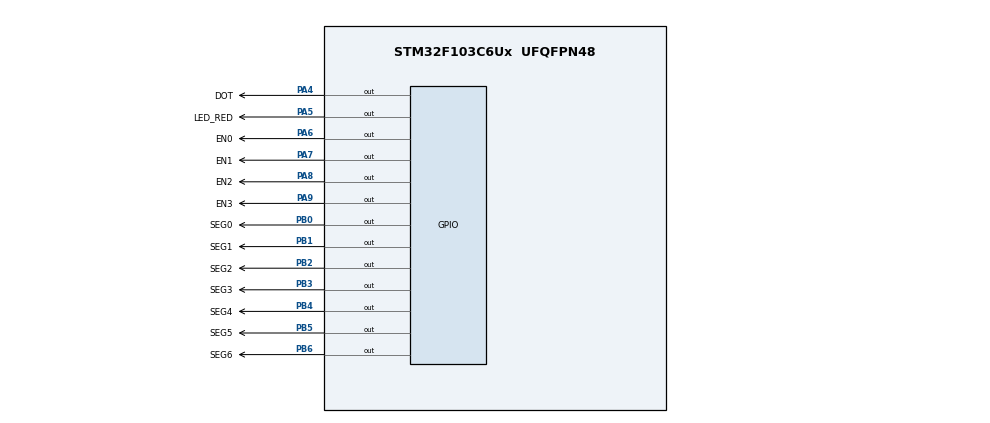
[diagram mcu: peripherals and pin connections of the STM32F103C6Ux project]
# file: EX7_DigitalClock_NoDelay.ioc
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Mcu.Family=STM32F1
Mcu.Name=STM32F103C6Ux
Mcu.Package=UFQFPN48
NVIC.PriorityGroup=NVIC_PRIORITYGROUP_4
NVIC.TIM2_IRQn=true\:0\:0\:false\:false\:true\:true\:true
PA4.GPIO_Label=DOT
PA4.Signal=GPIO_Output
PA5.GPIO_Label=LED_RED
PA5.Signal=GPIO_Output
PA6.GPIO_Label=EN0
PA6.Signal=GPIO_Output
PA7.GPIO_Label=EN1
PA7.Signal=GPIO_Output
PA8.GPIO_Label=EN2
PA8.Signal=GPIO_Output
PA9.GPIO_Label=EN3
PA9.Signal=GPIO_Output
PB0.GPIO_Label=SEG0
PB0.Signal=GPIO_Output
PB1.GPIO_Label=SEG1
PB1.Signal=GPIO_Output
PB2.GPIO_Label=SEG2
PB2.Signal=GPIO_Output
PB3.GPIO_Label=SEG3
PB3.Signal=GPIO_Output
PB4.GPIO_Label=SEG4
PB4.Signal=GPIO_Output
PB5.GPIO_Label=SEG5
PB5.Signal=GPIO_Output
PB6.GPIO_Label=SEG6
PB6.Signal=GPIO_Output
ProjectManager.HeapSize=0x200
ProjectManager.StackSize=0x400
ProjectManager.TargetToolchain=STM32CubeIDE
RCC.APB1Freq_Value=8000000
RCC.APB2Freq_Value=8000000
TIM2.Period=9
TIM2.Prescaler=7999
VP_SYS_VS_ND.Mode=No_Debug
VP_TIM2_VS_ClockSourceINT.Mode=Internal
board=custom

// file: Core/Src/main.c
//* USER CODE BEGIN Header */
/**
 ******************************************************************************
 * @file           : main.c
 * @brief          : Main program body - Fixed for Proteus
 ******************************************************************************
 */
/* USER CODE END Header */

#include "main.h"
#include "software_timer.h"

void SystemClock_Config(void);
static void MX_GPIO_Init(void);
static void MX_TIM2_Init(void);

TIM_HandleTypeDef htim2;
/* ========================================================================== */
/* ===== BIẾN TOÀN CỤC CHO ĐỒNG HỒ LED 7 ĐOẠN ===== */
/* ========================================================================== */
const int MAX_LED = 4;                  // Số lượng LED 7 đoạn (4 LED)
int index_led = 0;                      // Chỉ số LED đang được quét (0-3)
int hour = 15, minute = 8, second = 50; // Thời gian ban đầu: 15:08:50
int led_buffer[4] = {0, 0, 0, 0};       // Mảng lưu giá trị hiển thị cho 4 LED 7 đoạn

/* Định nghĩa hàm ------------------------------------------------------------*/

/**
 * @brief Cập nhật buffer đồng hồ với thời gian hiện tại
 */
void updateClockBuffer(void) {
    led_buffer[0] = hour / 10;      // Hàng chục của giờ (1 từ 15)
    led_buffer[1] = hour % 10;      // Hàng đơn vị của giờ (5 từ 15)
    led_buffer[2] = minute / 10;    // Hàng chục của phút (0 từ 08)
    led_buffer[3] = minute % 10;    // Hàng đơn vị của phút (8 từ 08)
    // Kết quả: hiển thị "1508" trên 4 LED 7-đoạn
}

/* USER CODE BEGIN PFP */
/**
 * @brief Hiển thị số trên LED 7-đoạn
 * @param num: Số cần hiển thị (0-9)
 */
void display7SEG(int num)
{
  // Tắt tất cả các đoạn LED trước (SET = tắt do logic nghịch đảo)
  HAL_GPIO_WritePin(GPIOB, SEG0_Pin | SEG1_Pin | SEG2_Pin | SEG3_Pin | SEG4_Pin | SEG5_Pin | SEG6_Pin, GPIO_PIN_SET);

  switch (num)
  {
  case 0: // Hiển thị số 0 - bật 6 đoạn (a,b,c,d,e,f)
    HAL_GPIO_WritePin(GPIOB, SEG0_Pin | SEG1_Pin | SEG2_Pin | SEG3_Pin | SEG4_Pin | SEG5_Pin, GPIO_PIN_RESET);
    break;
  case 1: // Hiển thị số 1 - chỉ bật 2 đoạn (b,c)
    HAL_GPIO_WritePin(GPIOB, SEG1_Pin | SEG2_Pin, GPIO_PIN_RESET);
    break;
  case 2: // Hiển thị số 2 - bật 5 đoạn (a,b,g,e,d)
    HAL_GPIO_WritePin(GPIOB, SEG0_Pin | SEG1_Pin | SEG3_Pin | SEG4_Pin | SEG6_Pin, GPIO_PIN_RESET);
    break;
  case 3: // Hiển thị số 3 - bật 5 đoạn (a,b,c,d,g)
    HAL_GPIO_WritePin(GPIOB, SEG0_Pin | SEG1_Pin | SEG2_Pin | SEG3_Pin | SEG6_Pin, GPIO_PIN_RESET);
    break;
  case 4: // Hiển thị số 4 - bật 4 đoạn (f,g,b,c)
    HAL_GPIO_WritePin(GPIOB, SEG1_Pin | SEG2_Pin | SEG5_Pin | SEG6_Pin, GPIO_PIN_RESET);
    break;
  case 5: // Hiển thị số 5 - bật 5 đoạn (a,f,g,c,d)
    HAL_GPIO_WritePin(GPIOB, SEG0_Pin | SEG2_Pin | SEG3_Pin | SEG5_Pin | SEG6_Pin, GPIO_PIN_RESET);
    break;
  case 6: // Hiển thị số 6 - bật 6 đoạn (a,f,g,e,d,c)
    HAL_GPIO_WritePin(GPIOB, SEG0_Pin | SEG2_Pin | SEG3_Pin | SEG4_Pin | SEG5_Pin | SEG6_Pin, GPIO_PIN_RESET);
    break;
  case 7: // Hiển thị số 7 - bật 3 đoạn (a,b,c)
    HAL_GPIO_WritePin(GPIOB, SEG0_Pin | SEG1_Pin | SEG2_Pin, GPIO_PIN_RESET);
    break;
  case 8: // Hiển thị số 8 - bật tất cả 7 đoạn
    HAL_GPIO_WritePin(GPIOB, SEG0_Pin | SEG1_Pin | SEG2_Pin | SEG3_Pin | SEG4_Pin | SEG5_Pin | SEG6_Pin, GPIO_PIN_RESET);
    break;
  case 9: // Hiển thị số 9 - bật 6 đoạn (a,b,c,d,f,g)
    HAL_GPIO_WritePin(GPIOB, SEG0_Pin | SEG1_Pin | SEG2_Pin | SEG3_Pin | SEG5_Pin | SEG6_Pin, GPIO_PIN_RESET);
    break;
  default:
    // Hiển thị gạch ngang (đoạn g) cho số không hợp lệ
    HAL_GPIO_WritePin(GPIOB, SEG6_Pin, GPIO_PIN_RESET);
    break;
  }
}

/**
 * @brief Bật một LED 7-đoạn cụ thể
 * @param index: Chỉ số LED (0-3)
 */
void enableLED(int index)
{
  // Tắt tất cả LED trước (SET = tắt do transistor PNP)
  HAL_GPIO_WritePin(GPIOA, EN0_Pin | EN1_Pin | EN2_Pin | EN3_Pin, GPIO_PIN_SET);

  switch (index)
  {
  case 0:
    HAL_GPIO_WritePin(GPIOA, EN0_Pin, GPIO_PIN_RESET); // Bật LED thứ 0 (hiển thị hàng chục giờ)
    break;
  case 1:
    HAL_GPIO_WritePin(GPIOA, EN1_Pin, GPIO_PIN_RESET); // Bật LED thứ 1 (hiển thị hàng đơn vị giờ)
    break;
  case 2:
    HAL_GPIO_WritePin(GPIOA, EN2_Pin, GPIO_PIN_RESET); // Bật LED thứ 2 (hiển thị hàng chục phút)
    break;
  case 3:
    HAL_GPIO_WritePin(GPIOA, EN3_Pin, GPIO_PIN_RESET); // Bật LED thứ 3 (hiển thị hàng đơn vị phút)
    break;
  default:
    break;
  }
}

/**
 * @brief Cập nhật hiển thị LED 7-đoạn tại vị trí cụ thể
 * @param index: Chỉ số LED (0-3)
 */
void update7SEG(int index)
{
  switch (index)
  {
  case 0:
    // Hiển thị LED đầu tiên với giá trị led_buffer[0] (hàng chục giờ)
    enableLED(0);
    display7SEG(led_buffer[0]);
    break;
  case 1:
    // Hiển thị LED thứ hai với giá trị led_buffer[1] (hàng đơn vị giờ)
    enableLED(1);
    display7SEG(led_buffer[1]);
    break;
  case 2:
    // Hiển thị LED thứ ba với giá trị led_buffer[2] (hàng chục phút)
    enableLED(2);
    display7SEG(led_buffer[2]);
    break;
  case 3:
    // Hiển thị LED thứ tư với giá trị led_buffer[3] (hàng đơn vị phút)
    enableLED(3);
    display7SEG(led_buffer[3]);
    break;
  default:
    // Tắt tất cả LED nếu chỉ số không hợp lệ
    HAL_GPIO_WritePin(GPIOA, EN0_Pin | EN1_Pin | EN2_Pin | EN3_Pin, GPIO_PIN_SET);
    break;
  }
}

/**
 * @brief Quét tuần tự tất cả LED 7-đoạn (multiplexing)
 */
void scanLED()
{
  update7SEG(index_led);  // Cập nhật LED tại vị trí hiện tại

  // Chuyển sang LED tiếp theo
  index_led++;
  if (index_led >= MAX_LED)
  {
    index_led = 0;  // Quay lại LED đầu tiên
  }
}
/* USER CODE END PFP */

/**
 * @brief Hàm callback ngắt timer - PHIÊN BẢN SOFTWARE TIMER
 */
void HAL_TIM_PeriodElapsedCallback(TIM_HandleTypeDef *htim)
{
  if (htim->Instance == TIM2)
  {
    // Chạy các timer phần mềm mỗi 10ms
    timerRun();

    // -------- Timer 0: Quét LED 7-đoạn mỗi 250ms (hiển thị mượt) --------
    if(isTimerExpired(0))
    {
      setTimer(0, 25);    // 25 × 10ms = 250ms - quét nhanh để tránh nhấp nháy
      scanLED();          // Quét qua tất cả LED 7-đoạn
    }

    // -------- Timer 2: Nhấp nháy LED đỏ mỗi 500ms --------
    if (isTimerExpired(2))
    {
      setTimer(2, 25);    // 50 × 10ms = 500ms
      HAL_GPIO_TogglePin(GPIOA, LED_RED_Pin);  // Đảo trạng thái LED đỏ
    }
  }
}

/**
 * @brief Chương trình chính - ĐỒNG HỒ VỚI SOFTWARE TIMER
 */
int main(void)
{
  /* Cấu hình MCU */
  HAL_Init();             // Khởi tạo HAL
  SystemClock_Config();   // Cấu hình đồng hồ hệ thống

  /* Khởi tạo ngoại vi */
  MX_GPIO_Init();         // Khởi tạo GPIO
  MX_TIM2_Init();         // Khởi tạo Timer 2

  /* USER CODE BEGIN 2 */
  // Khởi tạo các timer phần mềm TRƯỚC KHI bật timer ngắt
  setTimer(0, 25);        // Timer 0: 25 × 10ms = 250ms cho quét LED
  setTimer(1, 75);       // Timer 1: 75 × 10ms = 750ms cho LED chấm
  setTimer(2, 50);        // Timer 2: 50 × 10ms = 500ms cho LED đỏ
  setTimer(3, 25);       // Timer 3: 100 × 10ms = 1000ms cho đồng hồ

  /* Cập nhật buffer đồng hồ ban đầu */
  updateClockBuffer();    // Chuyển đổi thời gian thành dữ liệu hiển thị

  // Bật ngắt timer SAU KHI đã khởi tạo
  HAL_TIM_Base_Start_IT(&htim2);
  /* USER CODE END 2 */

  /* Vòng lặp vô hạn - LOGIC CHÍNH VỚI SOFTWARE TIMER */
  while (1) {

    // -------- Timer 1: Nhấp nháy LED chấm mỗi 1 giây (trong main loop) --------
    if (isTimerExpired(1))
    {
      setTimer(1, 50);   // 50 × 10ms = 500ms = 0.5s
      HAL_GPIO_TogglePin(GPIOA, DOT_Pin);  // Đảo trạng thái LED chấm
    }

    // -------- Timer 3: Cập nhật đồng hồ mỗi 1 giây (trong main loop) --------
    if (isTimerExpired(3)){
      // Tăng giây và xử lý tràn thời gian
      second++;
      if (second >= 60) {   // Khi giây = 60
        second = 0;         // Reset giây về 0
        minute++;           // Tăng phút
      }
      if (minute >= 60) {   // Khi phút = 60
        minute = 0;         // Reset phút về 0
        hour++;             // Tăng giờ
      }
      if (hour >= 24) {     // Khi giờ = 24
        hour = 0;           // Reset giờ về 0 (chuyển ngày mới)
      }

      updateClockBuffer();  // Cập nhật dữ liệu vào led_buffer
      setTimer(3, 100);     // Reset timer 3 cho chu kỳ tiếp theo
    }
  }
}

void SystemClock_Config(void)
{
  RCC_OscInitTypeDef RCC_OscInitStruct = {0};
  RCC_ClkInitTypeDef RCC_ClkInitStruct = {0};

  RCC_OscInitStruct.OscillatorType = RCC_OSCILLATORTYPE_HSI;
  RCC_OscInitStruct.HSIState = RCC_HSI_ON;
  RCC_OscInitStruct.HSICalibrationValue = RCC_HSICALIBRATION_DEFAULT;
  RCC_OscInitStruct.PLL.PLLState = RCC_PLL_NONE;
  if (HAL_RCC_OscConfig(&RCC_OscInitStruct) != HAL_OK)
  {
    Error_Handler();
  }

  RCC_ClkInitStruct.ClockType = RCC_CLOCKTYPE_HCLK | RCC_CLOCKTYPE_SYSCLK | RCC_CLOCKTYPE_PCLK1 | RCC_CLOCKTYPE_PCLK2;
  RCC_ClkInitStruct.SYSCLKSource = RCC_SYSCLKSOURCE_HSI;
  RCC_ClkInitStruct.AHBCLKDivider = RCC_SYSCLK_DIV1;
  RCC_ClkInitStruct.APB1CLKDivider = RCC_HCLK_DIV1;
  RCC_ClkInitStruct.APB2CLKDivider = RCC_HCLK_DIV1;

  if (HAL_RCC_ClockConfig(&RCC_ClkInitStruct, FLASH_LATENCY_0) != HAL_OK)
  {
    Error_Handler();
  }
}

static void MX_TIM2_Init(void)
{
  TIM_ClockConfigTypeDef sClockSourceConfig = {0};
  TIM_MasterConfigTypeDef sMasterConfig = {0};

  htim2.Instance = TIM2;
  htim2.Init.Prescaler = 7999;
  htim2.Init.CounterMode = TIM_COUNTERMODE_UP;
  htim2.Init.Period = 9;
  htim2.Init.ClockDivision = TIM_CLOCKDIVISION_DIV1;
  htim2.Init.AutoReloadPreload = TIM_AUTORELOAD_PRELOAD_DISABLE;
  if (HAL_TIM_Base_Init(&htim2) != HAL_OK)
  {
    Error_Handler();
  }
  sClockSourceConfig.ClockSource = TIM_CLOCKSOURCE_INTERNAL;
  if (HAL_TIM_ConfigClockSource(&htim2, &sClockSourceConfig) != HAL_OK)
  {
    Error_Handler();
  }
  sMasterConfig.MasterOutputTrigger = TIM_TRGO_RESET;
  sMasterConfig.MasterSlaveMode = TIM_MASTERSLAVEMODE_DISABLE;
  if (HAL_TIMEx_MasterConfigSynchronization(&htim2, &sMasterConfig) != HAL_OK)
  {
    Error_Handler();
  }
}

static void MX_GPIO_Init(void)
{
  GPIO_InitTypeDef GPIO_InitStruct = {0};

  __HAL_RCC_GPIOA_CLK_ENABLE();
  __HAL_RCC_GPIOB_CLK_ENABLE();

  HAL_GPIO_WritePin(GPIOA, DOT_Pin | LED_RED_Pin | EN0_Pin | EN1_Pin | EN2_Pin | EN3_Pin, GPIO_PIN_RESET);

  HAL_GPIO_WritePin(GPIOB, SEG0_Pin | SEG1_Pin | SEG2_Pin | SEG3_Pin | SEG4_Pin | SEG5_Pin | SEG6_Pin, GPIO_PIN_RESET);

  GPIO_InitStruct.Pin = DOT_Pin | LED_RED_Pin | EN0_Pin | EN1_Pin | EN2_Pin | EN3_Pin;
  GPIO_InitStruct.Mode = GPIO_MODE_OUTPUT_PP;
  GPIO_InitStruct.Pull = GPIO_NOPULL;
  GPIO_InitStruct.Speed = GPIO_SPEED_FREQ_LOW;
  HAL_GPIO_Init(GPIOA, &GPIO_InitStruct);

  GPIO_InitStruct.Pin = SEG0_Pin | SEG1_Pin | SEG2_Pin | SEG3_Pin | SEG4_Pin | SEG5_Pin | SEG6_Pin;
  GPIO_InitStruct.Mode = GPIO_MODE_OUTPUT_PP;
  GPIO_InitStruct.Pull = GPIO_NOPULL;
  GPIO_InitStruct.Speed = GPIO_SPEED_FREQ_LOW;
  HAL_GPIO_Init(GPIOB, &GPIO_InitStruct);
}

void Error_Handler(void)
{
  __disable_irq();
  while (1)
  {
  }
}
